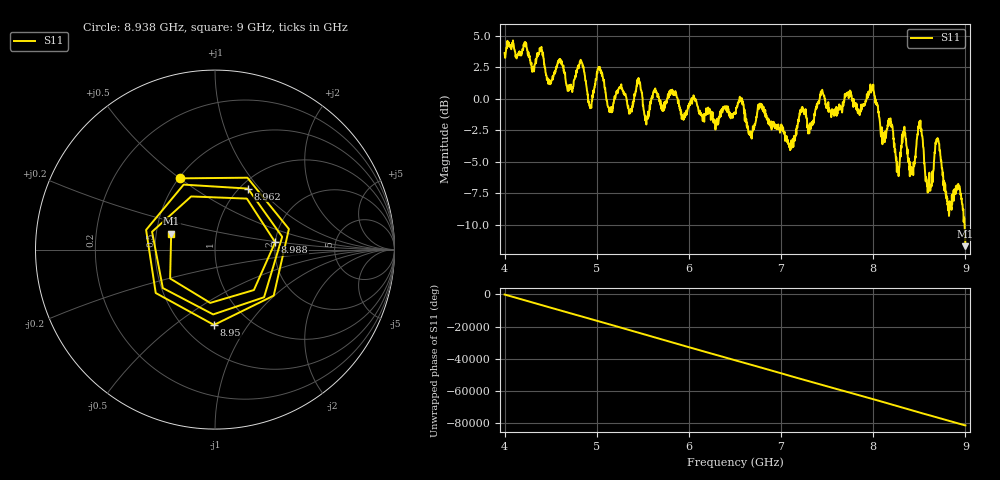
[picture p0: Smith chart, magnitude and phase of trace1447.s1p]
! Created with skrf 1.8.0 (http://scikit-rf.org).
# Hz S RI R 50.0
!freq ReS11 ImS11
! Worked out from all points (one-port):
!   1601 points, 4 GHz to 9 GHz, reference 50 ohm
!   lowest |S11| = -11.7 dB at 9 GHz (marker M1), VSWR 1.70, Z = 30 + j5.73 ohm
!   |S11| at or under -10 dB: 8.990552 GHz to end of sweep
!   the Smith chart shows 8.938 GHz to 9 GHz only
!   S11 on the Smith chart (normalised r, x): 8.938 GHz: 0.51, +0.50; 8.95 GHz: 0.69, -0.71; 8.962 GHz: 1.09, +0.87; 8.988 GHz: 2.00, +0.19; 9 GHz: 0.60, +0.11
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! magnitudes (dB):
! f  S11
! 4 GHz  3.6
! 4.625 GHz  2.7
! 4.709 GHz  0.8
! 4.838 GHz  2.9
! 4.925 GHz  -0.5
! 5.025 GHz  2.3
! 5.144 GHz  -0.9
! 5.25 GHz  0.9
! 5.362 GHz  -1.2
! 5.459 GHz  1.5
! 5.541 GHz  -1.7
! 5.875 GHz  0.1
! 6.5 GHz  -1.2
! 7.125 GHz  -3.8
! 7.222 GHz  -0.9
! 7.75 GHz  0.2
! 7.988 GHz  0.7
! 8.259 GHz  -5.0
! 8.375 GHz  -4.7
! 8.509 GHz  -2.0
! 8.603 GHz  -6.4
! 8.697 GHz  -3.1
! 8.825 GHz  -9.0
! 8.938 GHz  -7.1
! 8.95 GHz  -7.5
! 8.962 GHz  -8.3
! 8.988 GHz  -9.4
! 9 GHz  -11.7
